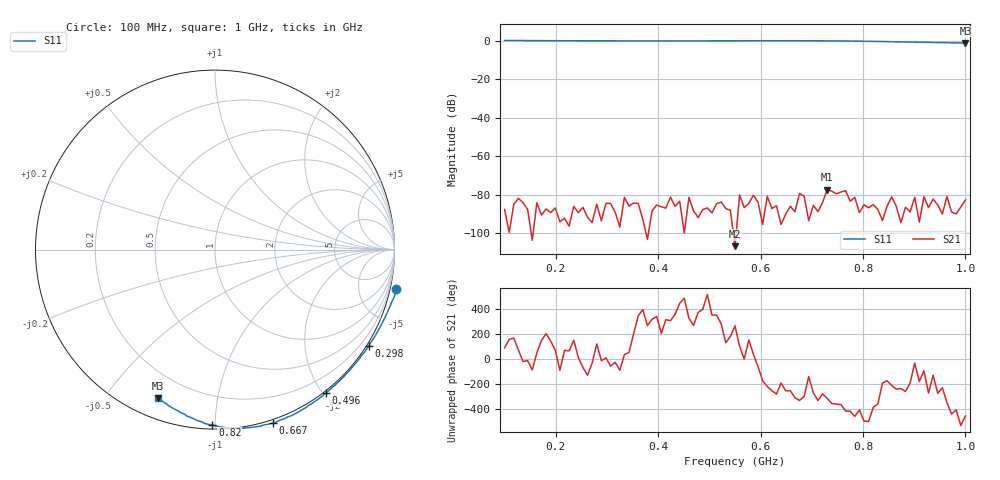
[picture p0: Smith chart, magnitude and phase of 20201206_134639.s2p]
# HZ S RI R 50
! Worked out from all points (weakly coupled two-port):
!   101 points, 100 MHz to 1 GHz, reference 50 ohm
!   highest |S21| = -77.54 dB at 730 MHz (marker M1); lowest = -106.9 dB at 550 MHz (marker M2)
!   lowest |S11| = -1.0 dB at 1 GHz (marker M3), VSWR 16.63, Z = 4.42 - j34.1 ohm
!   |S11| at or under -10 dB: nowhere
!   S12 and S22 are empty: the file has one direction only
!   S11 on the Smith chart (normalised r, x): 100 MHz: -1.34, -9.14; 298 MHz: -0.07, -3.49; 496 MHz: -0.03, -2.04; 667 MHz: -0.03, -1.39; 820 MHz: 0.02, -0.99; 1 GHz: 0.09, -0.68
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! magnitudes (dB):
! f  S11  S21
! 100 MHz  0.3  -87.8
! 118 MHz  0.3  -85.1
! 253 MHz  0.1  -86.7
! 298 MHz  0.1  -84.6
! 406 MHz  0.1  -86.4
! 496 MHz  0.1  -87.0
! 550 MHz  0.1  -106.9
! 667 MHz  0.2  -89.0
! 676 MHz  0.1  -79.5
! 685 MHz  0.1  -80.8
! 703 MHz  0.1  -85.6
! 721 MHz  0.1  -84.2
! 730 MHz  0.1  -77.5
! 739 MHz  0.1  -78.2
! 748 MHz  0.0  -79.6
! 757 MHz  0.0  -78.7
! 766 MHz  0.0  -78.0
! 775 MHz  0.0  -83.5
! 820 MHz  -0.2  -85.3
! 856 MHz  -0.4  -81.3
! 964 MHz  -0.9  -81.0
! 1 GHz  -1.0  -82.9
